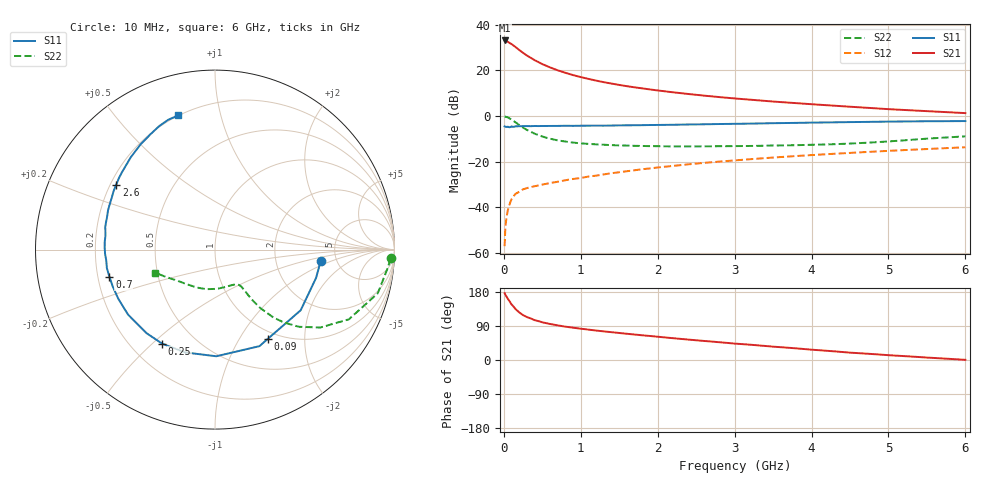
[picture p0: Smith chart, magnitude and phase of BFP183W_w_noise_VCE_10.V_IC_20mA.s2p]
! Infineon Technologies  Discrete & RF Semiconductors
! BFP183W
! VCE =  10. V,  IC =  20 mA
! Common Emitter S-Parameters:  Jan 2017
# GHz  S  MA  R  50
!  f  S11  S21  S12  S22
! GHz  MAG  ANG  MAG  ANG  MAG  ANG  MAG  ANG
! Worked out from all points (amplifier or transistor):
!   77 points, 10 MHz to 6 GHz, reference 50 ohm
!   highest |S21| = 33.1 dB at 10 MHz (marker M1)
!   |S21| within 3 dB of that: start of sweep to 156.3 MHz
!   unconditionally stable (mu >= 1): 1.217 GHz to 3.591 GHz
!   at 130 MHz: K = 0.23, MSG = 32.9 dB, |S12| = -35.0 dB
!   at 2.2 GHz: K = 1.06, MAG = 14.6 dB, |S12| = -21.9 dB
!   at 6 GHz: K = 0.86, MSG = 7.5 dB, |S12| = -13.7 dB
!   lowest NFmin = 1.17 dB at 450 MHz
!   S11 on the Smith chart (normalised r, x): 10 MHz: 3.76, -0.72; 90 MHz: 0.89, -1.33; 250 MHz: 0.33, -0.54; 700 MHz: 0.25, -0.12; 2.6 GHz: 0.22, +0.29; 6 GHz: 0.20, +0.74
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0.01  0.5927 -6.0  45.42 176.3  0.0014 83.1  0.9798 -2.9
0.02  0.5847 -15.7  44.84 172.1  0.0036 90.1  0.9677 -6.1
0.05  0.5849 -35.3  42.69 162.0  0.0083 73.0  0.939 -15.0
0.09  0.578 -59.5  38.68 150.0  0.0137 67.7  0.8571 -24.8
0.1  0.5922 -65.3  37.98 146.7  0.015 67.0  0.841 -27.5
0.15  0.5943 -89.3  32.78 134.8  0.0196 55.6  0.7298 -36.5
0.2  0.5967 -106.2  28.08 125.6  0.0218 51.6  0.6354 -42.6
0.25  0.6011 -119.4  24.29 118.4  0.0247 48.0  0.5573 -46.7
0.3  0.6019 -129.4  21.18 113.2  0.0263 45.5  0.4956 -49.4
0.4  0.6048 -143.2  16.79 105.2  0.0289 45.5  0.41 -52.3
0.5  0.6045 -152.9  13.76 99.5  0.0314 44.7  0.3556 -53.4
0.6  0.6057 -160.0  11.66 95.1  0.0339 45.9  0.3182 -53.9
0.7  0.6074 -165.6  10.06 91.4  0.0362 48.6  0.2924 -54.0
0.9  0.6088 -174.4  7.897 85.2  0.0417 51.0  0.262 -54.4
1.1  0.6148 179.0  6.515 80.2  0.0471 53.7  0.2453 -55.1
1.5  0.624 168.5  4.806 71.3  0.0585 56.4  0.2268 -58.8
2.1  0.6401 155.6  3.473 59.5  0.0775 57.4  0.2167 -69.0
2.6  0.6587 146.6  2.804 50.3  0.0937 56.7  0.2162 -80.6
3.1  0.6781 138.4  2.356 41.9  0.1096 55.0  0.2196 -92.9
4.1  0.7205 124.2  1.77 25.8  0.1424 50.4  0.236 -118.4
5.1  0.7575 113.4  1.387 11.5  0.1755 44.9  0.2849 -144.4
6  0.7752 105.3  1.159 0.4  0.2066 39.2  0.3588 -159.1
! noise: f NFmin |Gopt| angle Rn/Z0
0.45  1.17  0.2  171  0.1
0.9  1.2  0.25  174  0.09
1.9  1.68  0.41  -163  0.08
2.4  1.92  0.45  -157  0.12
